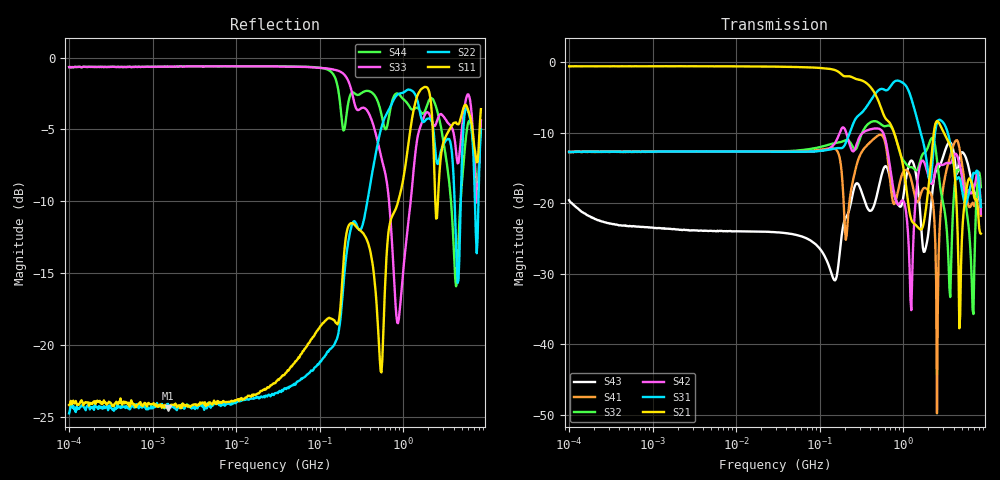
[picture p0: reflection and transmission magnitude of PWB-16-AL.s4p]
# MHz S MA R 50
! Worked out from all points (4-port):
!   498 points, 100 kHz to 8.5 GHz, reference 50 ohm
!   strongest paths, dB at 100 kHz, 1.698 MHz, 29.49 MHz, 500.7 MHz, 8.5 GHz:
!     S21: -0.6, -0.6, -0.6, -5.4, -24.3
!     S31: -12.7, -12.7, -12.7, -4.0, -20.5
!     S42: -12.7, -12.7, -12.7, -9.4, -21.5
!     S32: -12.7, -12.7, -12.7, -8.5, -17.7
!     S41: -12.8, -12.7, -12.7, -10.4, -21.8
!     S43: -19.6, -23.7, -24.1, -18.1, -20.5
!   lowest |S11| = -24.4 dB at 1.515 MHz (marker M1), VSWR 1.13, Z = 56.4 + j0.138 ohm
!   |S11| at or under -10 dB: start of sweep to 871.3 MHz; 2.419 GHz to 2.6 GHz (181 MHz wide, 7.21 % of centre)
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0.1  0.06168 3.1  0.9344 -0.3  0.2307 5.0  0.2299 -175.1
     0.9344 -0.3  0.05769 9.4  0.231 -175.4  0.2316 4.7
     0.2307 5.0  0.231 -175.4  0.9265 4.4  0.1049 -46.0
     0.2299 -175.1  0.2316 4.7  0.1049 -46.0  0.9267 4.4
1.514549  0.06001 1.2  0.9356 -0.5  0.2326 0.4  0.2321 179.8
          0.9356 -0.5  0.06257 1.9  0.2318 179.6  0.2316 0.3
          0.2326 0.4  0.2318 179.6  0.9301 0.1  0.06583 -6.4
          0.2321 179.8  0.2316 0.3  0.06583 -6.4  0.9308 0.2
658.5124  0.2398 11.3  0.3821 -140.5  0.6409 -53.6  0.1973 -49.1
          0.3821 -140.5  0.6504 -16.3  0.3557 -49.7  0.2225 -125.5
          0.6409 -53.6  0.3557 -49.7  0.3404 -165.2  0.171 4.0
          0.1973 -49.1  0.2225 -125.5  0.171 4.0  0.598 -62.6
2159.325  0.6834 176.6  0.2058 -92.0  0.153 161.5  0.1155 153.3
          0.2058 -92.0  0.6049 -177.0  0.2865 137.0  0.1373 173.8
          0.153 161.5  0.2865 137.0  0.6117 -152.8  0.09837 -112.1
          0.1155 153.3  0.1373 173.8  0.09837 -112.1  0.7217 -179.2
3568.796  0.5609 89.5  0.2642 9.4  0.2844 -16.0  0.2062 79.7
          0.2642 9.4  0.5192 71.0  0.02509 -102.0  0.1916 36.6
          0.2844 -16.0  0.02509 -102.0  0.5849 77.8  0.2705 70.4
          0.2062 79.7  0.1916 36.6  0.2705 70.4  0.363 25.4
6764.496  0.5546 -159.1  0.1287 115.9  0.1557 66.7  0.1008 91.7
          0.1287 115.9  0.5141 -167.9  0.01761 92.9  0.121 56.8
          0.1557 66.7  0.01761 92.9  0.5704 -155.9  0.1329 104.3
          0.1008 91.7  0.121 56.8  0.1329 104.3  0.5206 -152.1
8500  0.6612 -41.9  0.06081 -53.9  0.0942 -136.1  0.0816 -110.7
      0.06081 -53.9  0.5612 -55.9  0.1297 -71.3  0.08419 -163.4
      0.0942 -136.1  0.1297 -71.3  0.6047 -31.4  0.09429 -74.9
      0.0816 -110.7  0.08419 -163.4  0.09429 -74.9  0.6022 -45.5
